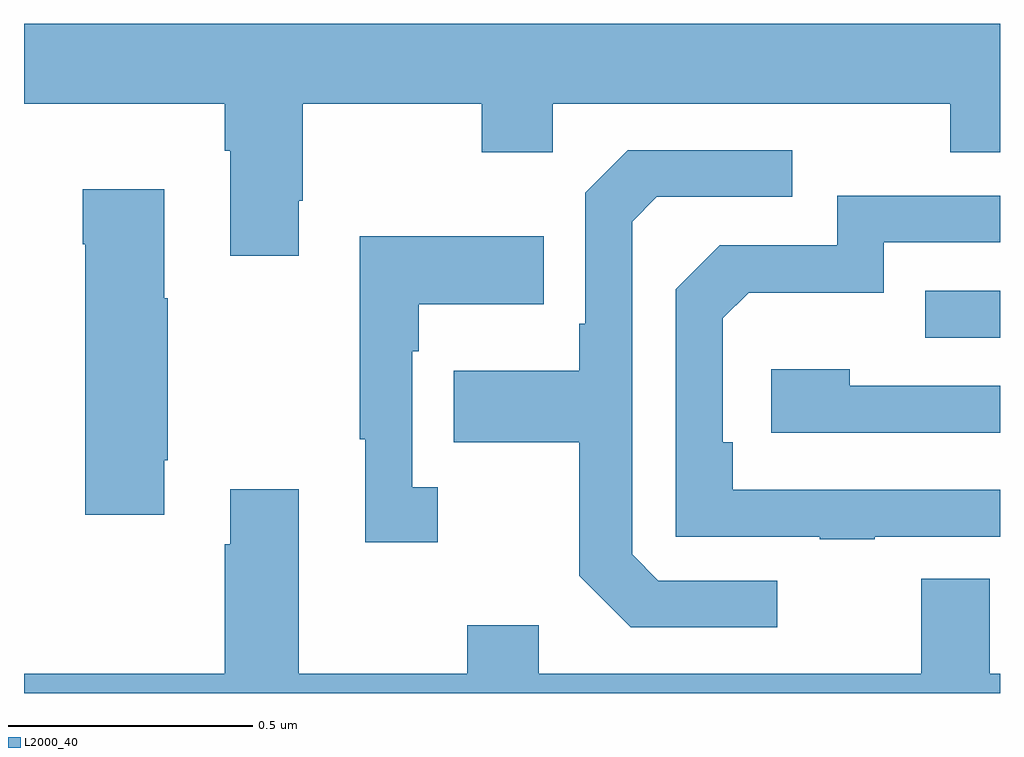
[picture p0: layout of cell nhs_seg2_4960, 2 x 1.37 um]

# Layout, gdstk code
import gdstk
lib = gdstk.Library(unit=1e-6, precision=1e-09)
def R(c, l, rs):  # rectangles x0, y0, x1, y1
    for r in rs: c.add(gdstk.rectangle(r[:2], r[2:], *l))
def P(c, l, *ps):  # polygons
    for p in ps: c.add(gdstk.Polygon(p, *l))
L2000_40 = (2000, 40)

nhs_seg2_4960 = lib.new_cell('nhs_seg2_4960')
R(nhs_seg2_4960, L2000_40, [(174.847,608.529,175,608.625)])
P(nhs_seg2_4960, L2000_40, [(173.563,608.809),(173.571,608.809),(173.571,609.008),(173.938,609.008),(173.938,608.909),(174.084,608.909),(174.084,609.008),(174.898,609.008),(174.898,608.909),(175,608.909),(175,609.172),(173,609.172),(173,609.008),(173.411,609.008),(173.411,608.912),(173.423,608.912),(173.423,608.697),(173.563,608.697)],
  [(174.544,608.031),(174.3,608.031),(174.246,608.085),(174.246,608.766),(174.297,608.817),(174.574,608.817),(174.574,608.913),(174.237,608.913),(174.15,608.826),(174.15,608.557),(174.138,608.557),(174.138,608.461),(173.881,608.461),(173.881,608.314),(174.138,608.314),(174.138,608.041),(174.243,607.935),(174.544,607.935)],
  [(173.287,608.278),(173.295,608.278),(173.295,608.609),(173.287,608.609),(173.287,608.833),(173.12,608.833),(173.12,608.72),(173.125,608.72),(173.125,608.166),(173.287,608.166)],
  [(174.743,608.121),(175,608.121),(175,608.217),(174.452,608.217),(174.452,608.314),(174.432,608.314),(174.432,608.568),(174.485,608.621),(174.762,608.621),(174.762,608.724),(175,608.724),(175,608.82),(174.666,608.82),(174.666,608.718),(174.426,608.718),(174.336,608.628),(174.336,608.121),(174.631,608.121),(174.631,608.116),(174.743,608.116)],
  [(173.848,608.222),(173.796,608.222),(173.796,608.501),(173.809,608.501),(173.809,608.597),(174.065,608.597),(174.065,608.737),(173.688,608.737),(173.688,608.321),(173.699,608.321),(173.699,608.109),(173.848,608.109)],
  [(175,608.43),(174.692,608.43),(174.692,608.464),(174.531,608.464),(174.531,608.334),(175,608.334)],
  [(175,607.84),(174.979,607.84),(174.979,608.035),(174.839,608.035),(174.839,607.84),(174.055,607.84),(174.055,607.939),(173.908,607.939),(173.908,607.84),(173.563,607.84),(173.563,608.218),(173.423,608.218),(173.423,608.105),(173.411,608.105),(173.411,607.84),(173,607.84),(173,607.8),(175,607.8)])

lib.write_gds('nhs_seg2_4960.gds')
